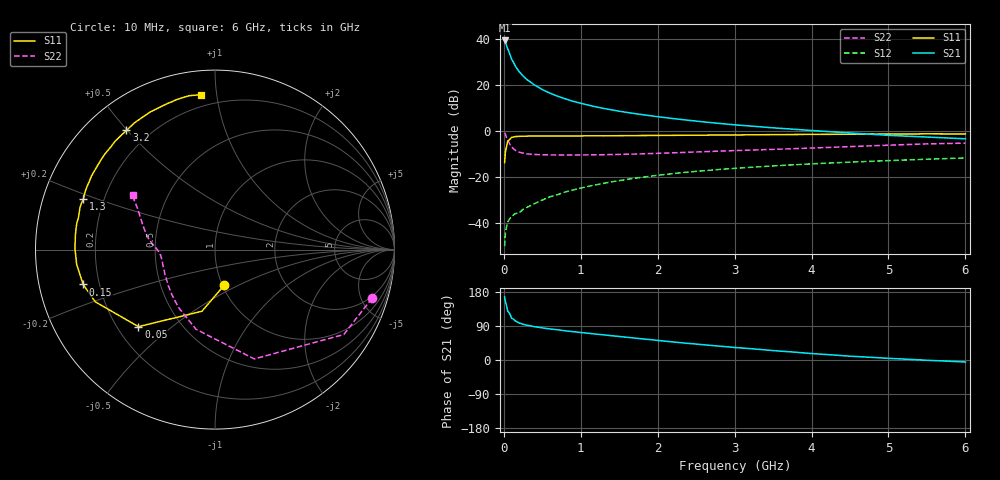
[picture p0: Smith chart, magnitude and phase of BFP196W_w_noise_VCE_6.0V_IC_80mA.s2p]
! (c) 2017  Infineon Technologies AG, Munich
! Infineon Technologies  Discrete & RF Semiconductors
! BFP196W
! VCE =  6.0 V,  IC =  80 mA
! Common Emitter S-Parameters:  Jan 2017
# GHz  S  MA  R  50
!  f  S11  S21  S12  S22
! GHz  MAG  ANG  MAG  ANG  MAG  ANG  MAG  ANG
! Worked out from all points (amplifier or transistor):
!   77 points, 10 MHz to 6 GHz, reference 50 ohm
!   highest |S21| = 39.5 dB at 10 MHz (marker M1)
!   |S21| within 3 dB of that: start of sweep to 42.83 MHz
!   unconditionally stable (mu >= 1): 578.2 MHz to 3.289 GHz
!   at 130 MHz: K = 0.52, MSG = 33.0 dB, |S12| = -36.4 dB
!   at 2.2 GHz: K = 1.03, MAG = 10.9 dB, |S12| = -18.5 dB
!   at 6 GHz: K = 0.94, MSG = 4.2 dB, |S12| = -11.7 dB
!   lowest NFmin = 1.68 dB at 450 MHz
!   S11 on the Smith chart (normalised r, x): 10 MHz: 1.02, -0.42; 50 MHz: 0.29, -0.39; 150 MHz: 0.14, -0.13; 1.3 GHz: 0.12, +0.18; 3.2 GHz: 0.12, +0.50; 6 GHz: 0.13, +0.91
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0.01  0.2057 -75.7  94.39 166.9  0.0031 75.9  0.9157 -17.2
0.02  0.3512 -102.0  87.35 154.3  0.006 70.4  0.8595 -33.4
0.05  0.6049 -134.8  62.02 129.1  0.0105 51.5  0.6475 -70.2
0.1  0.7274 -156.4  37.22 110.8  0.0138 44.9  0.4561 -103.5
0.15  0.7599 -165.2  25.9 102.8  0.0159 43.8  0.3809 -122.4
0.2  0.7668 -170.4  19.69 97.8  0.0165 48.6  0.3474 -133.7
0.25  0.7753 -173.9  15.85 94.3  0.0198 51.9  0.3293 -141.9
0.3  0.776 -176.5  13.24 91.9  0.0217 54.1  0.3187 -147.5
0.4  0.7804 179.5  10.01 87.8  0.0262 58.7  0.3092 -155.1
0.5  0.7806 176.3  8.013 84.7  0.0314 61.6  0.3041 -160.0
0.6  0.782 173.7  6.699 82.0  0.0369 63.3  0.3033 -163.3
0.7  0.7828 171.4  5.735 79.7  0.0413 64.8  0.301 -165.9
0.9  0.7815 166.9  4.46 74.8  0.0521 65.9  0.3016 -169.5
1.1  0.7877 162.8  3.671 70.5  0.0625 65.7  0.303 -172.0
1.3  0.7855 158.9  3.109 66.3  0.0727 64.6  0.3054 -174.3
1.6  0.7953 153.4  2.548 59.9  0.0884 62.8  0.3125 -177.4
2.1  0.8046 144.2  1.963 49.7  0.1136 58.9  0.3315 178.0
3.1  0.8253 128.1  1.329 31.6  0.1578 49.8  0.3799 169.6
3.2  0.8274 126.6  1.289 30.0  0.1618 48.9  0.3845 168.7
4.1  0.848 114.0  1.004 15.7  0.1963 40.9  0.4326 159.8
5.1  0.8639 103.2  0.793 3.4  0.2301 32.8  0.4992 151.0
6  0.8669 95.0  0.679 -5.3  0.2597 25.7  0.5459 146.4
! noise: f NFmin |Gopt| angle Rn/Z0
0.45  1.68  0.56  -175  0.06
0.9  1.8  0.59  -169  0.08
1.9  2.67  0.7  -148  0.2
2.4  3.09  0.74  -143  0.32
